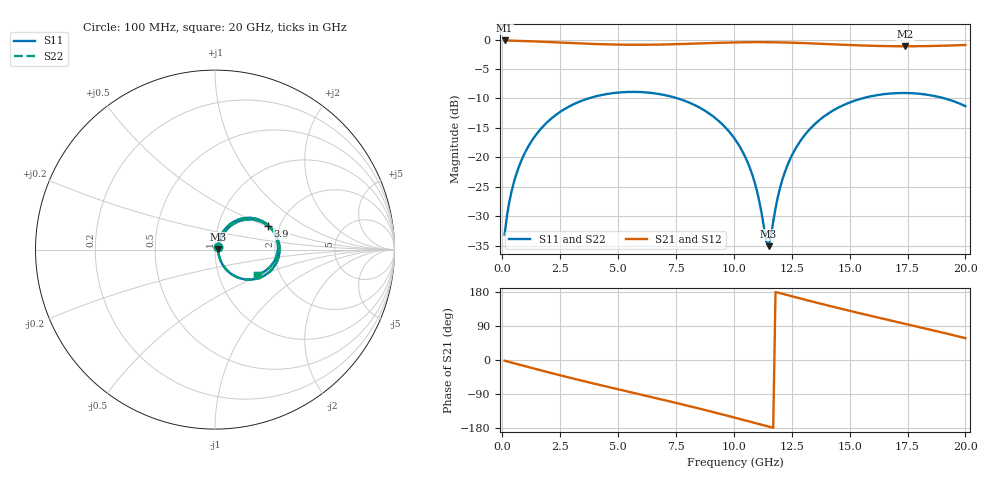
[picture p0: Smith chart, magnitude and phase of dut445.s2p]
! Touchstone file exported from HFSS 2026.1.0
!  File:  C:/ffzhzh/LocalFiles/Ansys_Project_Files/temp_train_TSV_RDL_445_1783099320_37876.aedt
!  Generated:  01:34:58 AM Jul  4, 2026
!  Design:  TSV_RDL
!  Project:  temp_train_TSV_RDL_445_1783099320_37876
! Variables:
!  h_bsmrdl = 4.02um
!  h_ox = 20um
!  h_rdl = 5um
!  h_sub = 73.29um
!  h_tmrdl = 3.68um
!  h_tsv = 73.29um
!  h_via = 3um
!  l_bsmrdl = 732.51um
!  l_sub = 5216.72um
!  l_tmrdl = 615.7um
!  m_sub = 200um
!  pitch = 43.11um
!  r_tsv = 11.78um
!  s_tmrdl = 10um
!  w_bsmrdl = 25.76um
!  w_sub = 500um
!  w_tmrdl = 26.37um
!  x_tsv_center1 = 628.885um
!  x_tsv_center2 = 1387.155um
!  x_tsv_center3 = 2029.225um
!  x_tsv_center4 = 2787.495um
!  x_tsv_center5 = 3429.565um
!  x_tsv_center6 = 4187.835um
# GHz S MA R 50.000000
! Terminal data exported
! Port[1] = TM_RDL1_1_T1
! Port[2] = TM_RDL5_1_T1
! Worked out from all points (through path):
!   200 points, 100 MHz to 20 GHz, reference 50 ohm
!   highest |S21| = -0.16 dB at 100 MHz (marker M1); lowest = -1.1 dB at 17.4 GHz (marker M2)
!   group delay of S21, straight-line fit = 42 ps
!   lowest |S11| = -35.1 dB at 11.5 GHz (marker M3), VSWR 1.04, Z = 51.8 + j0.261 ohm
!   |S11| at or under -10 dB: start of sweep to 3.718 GHz; 7.582 GHz to 15.53 GHz (7.951 GHz wide, 68.8 % of centre); 19.11 GHz to end of sweep
!   |S22| runs from -35.0 to -8.9 dB; largest |S21 - S12| = 1.7e-14
!   S11 on the Smith chart (normalised r, x): 100 MHz: 1.04, +0.03; 3.9 GHz: 1.74, +0.52; 20 GHz: 1.52, -0.46
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0.1  0.0221 34.4  0.9821 -1.8  0.9821 -1.8  0.0221 34.4
! Gamma 0 0 0 0
! Port Impedance 50 0 50 0
0.3  0.04154 55.3  0.9789 -5.2  0.9789 -5.2  0.04154 55.3
0.5  0.0615 60.5  0.9763 -8.5  0.9763 -8.5  0.0615 60.5
1.1  0.1214 60.4  0.9687 -18.2  0.9687 -18.2  0.1214 60.4
2.1  0.2123 49.0  0.9515 -34.2  0.9515 -34.2  0.2123 49.0
3.5  0.3058 29.8  0.9244 -55.5  0.9244 -55.5  0.3058 29.8
3.9  0.3241 24.2  0.9178 -61.4  0.9178 -61.4  0.3241 24.2
5.3  0.3583 5.1  0.9036 -81.5  0.9036 -81.5  0.3583 5.1
6.8  0.3442 -15.3  0.9063 -102.9  0.9063 -102.9  0.3442 -15.3
8.7  0.2525 -41.5  0.929 -131.1  0.929 -131.1  0.2525 -41.5
10.1  0.1379 -59.4  0.9458 -153.1  0.9458 -153.1  0.1379 -59.4
10.9  0.06136 -62.6  0.9499 -166.0  0.9499 -166.0  0.0614 -62.5
11.4  0.0193 -21.8  0.9495 -174.1  0.9495 -174.1  0.01942 -21.7
11.5  0.01764 8.2  0.9491 -175.7  0.9491 -175.7  0.01777 8.1
11.9  0.0461 62.8  0.9467 177.9  0.9467 177.9  0.04613 62.6
12.2  0.07464 66.8  0.9439 173.0  0.9439 173.0  0.07465 66.8
12.7  0.122 64.4  0.9377 165.0  0.9377 165.0  0.122 64.4
13.4  0.1836 56.6  0.9266 154.0  0.9266 154.0  0.1836 56.6
15  0.292 35.3  0.898 129.8  0.898 129.8  0.2919 35.3
16.7  0.3475 12.7  0.8786 105.3  0.8786 105.3  0.3474 12.7
17.4  0.3518 3.4  0.8766 95.4  0.8766 95.4  0.3517 3.4
20  0.272 -31.0  0.8984 57.7  0.8984 57.7  0.2719 -31.0
